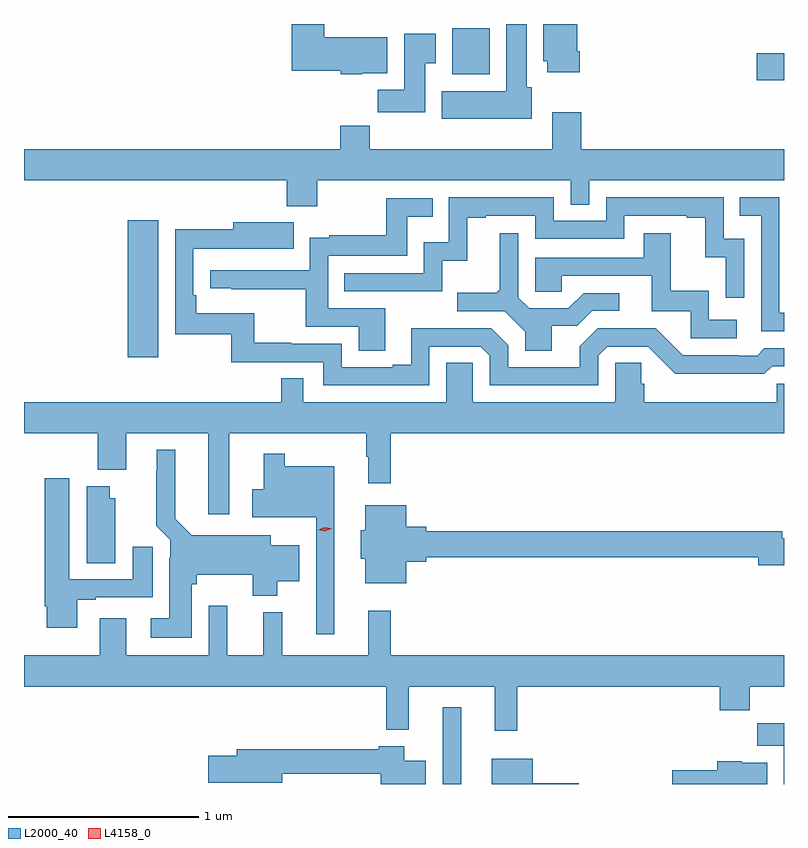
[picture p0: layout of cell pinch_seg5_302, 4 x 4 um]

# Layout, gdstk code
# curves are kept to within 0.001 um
import gdstk
lib = gdstk.Library(unit=1e-6, precision=1e-09)
def R(c, l, rs):  # rectangles x0, y0, x1, y1
    for r in rs: c.add(gdstk.rectangle(r[:2], r[2:], *l))
def P(c, l, *ps):  # polygons
    for p in ps: c.add(gdstk.Polygon(p, *l))
L2000_40 = (2000, 40)
L4158_0 = (4158, 0)

pinch_seg5_302 = lib.new_cell('pinch_seg5_302')
R(pinch_seg5_302, L2000_40, [(890.289,880.223,890.386,880.627), (888.632,882.468,888.793,883.189), (891.942,883.927,892.086,884.069), (890.339,883.958,890.536,884.2)])
P(pinch_seg5_302, L2000_40, [(891.011,884.08),(890.998,884.08),(890.998,884.223),(890.819,884.223),(890.819,884.028),(890.84,884.028),(890.84,883.968),(891.011,883.968)],
  [(890.758,883.89),(890.731,883.89),(890.731,884.223),(890.624,884.223),(890.624,883.87),(890.285,883.87),(890.285,883.724),(890.758,883.724)],
  [(889.866,883.964),(889.999,883.964),(889.999,884.152),(889.666,884.152),(889.666,884.223),(889.496,884.223),(889.496,883.976),(889.752,883.976),(889.752,883.958),(889.866,883.958)],
  [(890.197,884.017),(890.254,884.017),(890.254,884.173),(890.087,884.173),(890.087,883.876),(889.948,883.876),(889.948,883.758),(890.197,883.758)],
  [(889.629,883.4),(890.964,883.4),(890.964,883.273),(891.06,883.273),(891.06,883.4),(892.086,883.4),(892.086,883.564),(891.02,883.564),(891.02,883.759),(890.867,883.759),(890.867,883.564),(889.907,883.564),(889.907,883.688),(889.751,883.688),(889.751,883.564),(888.086,883.564),(888.086,883.4),(889.469,883.4),(889.469,883.265),(889.629,883.265)],
  [(892.086,882.702),(892.062,882.702),(892.062,883.311),(891.853,883.311),(891.853,883.215),(891.966,883.215),(891.966,882.606),(892.086,882.606)],
  [(891.876,883.092),(891.768,883.092),(891.768,883.311),(891.15,883.311),(891.15,883.188),(890.874,883.188),(890.874,883.311),(890.322,883.311),(890.322,883.075),(890.19,883.075),(890.19,882.912),(889.771,882.912),(889.771,882.816),(890.286,882.816),(890.286,882.977),(890.419,882.977),(890.419,883.203),(890.515,883.203),(890.515,883.215),(890.778,883.215),(890.778,883.092),(891.246,883.092),(891.246,883.215),(891.575,883.215),(891.575,883.203),(891.671,883.203),(891.671,882.995),(891.78,882.995),(891.78,882.783),(891.876,882.783)],
  [(889.987,882.726),(889.686,882.726),(889.686,883.002),(890.103,883.002),(890.103,883.208),(890.237,883.208),(890.237,883.305),(889.992,883.305),(889.992,883.111),(889.693,883.111),(889.693,883.099),(889.59,883.099),(889.59,882.927),(889.065,882.927),(889.065,882.831),(889.177,882.831),(889.177,882.826),(889.57,882.826),(889.57,882.63),(889.847,882.63),(889.847,882.502),(889.987,882.502)],
  [(890.22,882.525),(890.49,882.525),(890.538,882.477),(890.538,882.321),(891.108,882.321),(891.108,882.477),(891.156,882.525),(891.372,882.525),(891.514,882.383),(891.75,882.383),(891.75,882.381),(891.983,882.381),(892.025,882.423),(892.086,882.423),(892.086,882.516),(891.983,882.516),(891.944,882.477),(891.845,882.477),(891.845,882.48),(891.552,882.48),(891.411,882.621),(891.105,882.621),(891.011,882.527),(891.011,882.417),(890.634,882.417),(890.634,882.531),(890.544,882.621),(890.328,882.621),(890.328,882.623),(890.123,882.623),(890.123,882.43),(890.027,882.43),(890.027,882.417),(889.758,882.417),(889.758,882.54),(889.493,882.54),(889.493,882.545),(889.297,882.545),(889.297,882.7),(888.992,882.7),(888.992,882.796),(888.978,882.796),(888.978,883.041),(889.505,883.04),(889.505,883.18),(889.187,883.18),(889.187,883.142),(888.882,883.142),(888.882,882.591),(889.176,882.591),(889.176,882.444),(889.662,882.444),(889.662,882.321),(890.22,882.321)],
  [(890.863,882.634),(890.998,882.634),(891.078,882.714),(891.22,882.714),(891.22,882.807),(891.032,882.807),(890.951,882.726),(890.745,882.726),(890.688,882.783),(890.688,883.123),(890.591,883.123),(890.591,882.82),(890.58,882.82),(890.58,882.808),(890.367,882.808),(890.367,882.711),(890.616,882.711),(890.723,882.604),(890.723,882.502),(890.863,882.502)],
  [(891.838,882.666),(891.69,882.666),(891.69,882.82),(891.491,882.82),(891.491,883.123),(891.347,883.123),(891.347,882.993),(890.778,882.993),(890.778,882.813),(890.915,882.813),(890.915,882.897),(891.389,882.897),(891.389,882.711),(891.594,882.711),(891.594,882.57),(891.838,882.57)],
  [(889.165,882.068),(889.887,882.068),(889.887,881.945),(889.898,881.945),(889.898,881.805),(890.015,881.805),(890.015,882.068),(892.086,882.068),(892.086,882.33),(892.047,882.33),(892.047,882.232),(891.35,882.232),(891.35,882.33),(891.335,882.33),(891.335,882.44),(891.198,882.44),(891.198,882.232),(890.448,882.232),(890.448,882.44),(890.309,882.44),(890.309,882.232),(889.557,882.232),(889.557,882.359),(889.441,882.359),(889.441,882.232),(888.086,882.232),(888.086,882.068),(888.473,882.068),(888.473,881.876),(888.625,881.876),(888.625,882.068),(889.055,882.068),(889.055,881.643),(889.165,881.643)],
  [(888.97,881.274),(888.996,881.274),(888.996,881.324),(889.291,881.324),(889.291,881.213),(889.42,881.213),(889.42,881.291),(889.534,881.291),(889.534,881.479),(889.384,881.479),(889.384,881.533),(888.969,881.533),(888.883,881.62),(888.883,881.983),(888.785,881.983),(888.785,881.873),(888.781,881.873),(888.781,881.582),(888.855,881.508),(888.855,881.414),(888.851,881.414),(888.851,881.095),(888.753,881.095),(888.753,880.994),(888.97,880.994)],
  [(889.72,881.896),(889.459,881.896),(889.459,881.962),(889.349,881.962),(889.349,881.775),(889.286,881.775),(889.286,881.627),(889.623,881.627),(889.623,881.01),(889.72,881.01)],
  [(888.367,881.193),(888.463,881.193),(888.463,881.205),(888.763,881.205),(888.763,881.473),(888.659,881.473),(888.659,881.301),(888.325,881.301),(888.325,881.833),(888.194,881.833),(888.194,881.158),(888.206,881.158),(888.206,881.046),(888.367,881.046)],
  [(888.565,881.727),(888.538,881.727),(888.538,881.791),(888.416,881.791),(888.416,881.386),(888.565,881.386)],
  [(890.098,881.393),(890.203,881.393),(890.203,881.416),(891.95,881.416),(891.95,881.374),(892.086,881.374),(892.086,881.516),(892.078,881.516),(892.078,881.552),(890.203,881.552),(890.203,881.576),(890.098,881.576),(890.098,881.689),(889.883,881.689),(889.883,881.559),(889.859,881.559),(889.859,881.409),(889.883,881.409),(889.883,881.279),(890.098,881.279)],
  [(890.681,880.736),(891.749,880.736),(891.749,880.612),(891.905,880.612),(891.905,880.736),(892.086,880.736),(892.086,880.9),(890.015,880.9),(890.015,881.134),(889.898,881.134),(889.898,880.9),(889.445,880.9),(889.445,881.128),(889.346,881.128),(889.346,880.9),(889.157,880.9),(889.157,881.161),(889.059,881.161),(889.059,880.9),(888.625,880.9),(888.625,881.095),(888.485,881.095),(888.485,880.9),(888.086,880.9),(888.086,880.736),(889.993,880.736),(889.993,880.508),(890.111,880.508),(890.111,880.736),(890.564,880.736),(890.564,880.503),(890.681,880.503)],
  [(892.086,880.543),(891.946,880.543),(891.946,880.424),(892.085,880.424),(892.085,880.223),(892.086,880.223)],
  [(890.2,880.345),(890.086,880.345),(890.086,880.423),(889.952,880.423),(889.952,880.405),(889.205,880.405),(889.205,880.371),(889.056,880.371),(889.056,880.229),(889.444,880.229),(889.444,880.276),(889.964,880.276),(889.964,880.223),(890.2,880.223)],
  [(891.007,880.226),(890.764,880.226),(890.764,880.357),(890.549,880.357),(890.549,880.223),(891.007,880.223)],
  [(891.997,880.336),(891.864,880.336),(891.864,880.342),(891.734,880.342),(891.734,880.296),(891.498,880.296),(891.498,880.223),(891.997,880.223)])
P(pinch_seg5_302, L4158_0, [(889.67,881.554),(889.634,881.561),(889.634,881.562),(889.634,881.562),(889.668,881.574),(889.704,881.568),(889.704,881.567),(889.704,881.567)])

lib.write_gds('pinch_seg5_302.gds')
